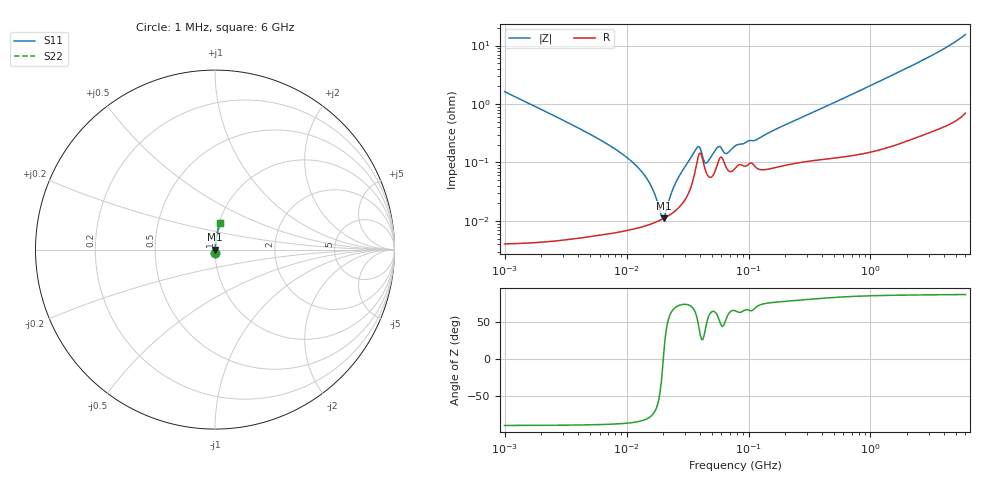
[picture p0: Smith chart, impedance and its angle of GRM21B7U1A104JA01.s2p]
!Murata Part Number: GRM21B7U1A104JA01
!These Parameters are Measured in Series Mode Connection
!Data Generated on Mar 30, 2021
!  o--ll--o
!Port1  Port2
!  o------o
!Operation Temp=25[degC], DC Bias Voltage=0[V]
!Freq. Start=1000[kHz] Stop=6[GHz] 401[Steps]
# Hz S RI R 50
!Freq.(Hz) S11(Real) S11(Imag) S21(Real) S21(Imag) S12(Real) S12(Imag) S22(Real) S22(Imag)
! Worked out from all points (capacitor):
!   401 points, 1 MHz to 6 GHz, reference 50 ohm
!   read as one part in series: C = 97.7 nF near 1.044 MHz
!   lowest |Z| = 11 mohm at 20.11 MHz (marker M1)
!   series resonance near 19.99 MHz, so ESL is about 650 pH
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1000000  0.000304 -0.0162  0.9997 0.0162  0.9997 0.0162  0.000304 -0.0162
4293785  6.45e-05 -0.00361  0.9999 0.00361  0.9999 0.00361  6.45e-05 -0.00361
8245209  6.59e-05 -0.00164  0.9999 0.00164  0.9999 0.00164  6.59e-05 -0.00164
1.219603e7  7.57e-05 -0.000848  0.9999 0.000848  0.9999 0.000848  7.57e-05 -0.000848
1.549236e7  8.72e-05 -0.00043  0.9999 0.00043  0.9999 0.00043  8.72e-05 -0.00043
1.690048e7  9.32e-05 -0.000283  0.9999 0.000283  0.9999 0.000283  9.32e-05 -0.000283
1.843659e7  0.000101 -0.000137  0.9999 0.000137  0.9999 0.000137  0.000101 -0.000137
1.925624e7  0.000105 -6.37e-05  0.9999 6.37e-05  0.9999 6.37e-05  0.000105 -6.37e-05
2.011232e7  0.00011 1.03e-05  0.9999 -1.03e-05  0.9999 -1.03e-05  0.00011 1.03e-05
2.554826e7  0.000154 0.000445  0.9998 -0.000445  0.9998 -0.000445  0.000154 0.000445
3.779011e7  0.00101 0.00148  0.999 -0.00148  0.999 -0.00148  0.00101 0.00148
3.947016e7  0.00142 0.00119  0.9986 -0.00119  0.9986 -0.00119  0.00142 0.00119
4.305766e7  0.000916 0.000554  0.9991 -0.000554  0.9991 -0.000554  0.000916 0.000554
4.497189e7  0.000675 0.000704  0.9993 -0.000704  0.9993 -0.000704  0.000675 0.000704
5.589783e7  0.000962 0.00155  0.999 -0.00155  0.999 -0.00155  0.000962 0.00155
6.652088e7  0.000782 0.0012  0.9992 -0.0012  0.9992 -0.0012  0.000782 0.0012
7.745967e7  0.000789 0.00174  0.9992 -0.00174  0.9992 -0.00174  0.000789 0.00174
1.145757e8  0.000832 0.00227  0.9992 -0.00227  0.9992 -0.00227  0.000832 0.00227
3.325952e8  0.00112 0.007  0.9989 -0.007  0.9989 -0.007  0.00112 0.007
1.428092e9  0.00269 0.0293  0.9973 -0.0293  0.9973 -0.0293  0.00269 0.0293
3.483508e9  0.00908 0.0738  0.9909 -0.0738  0.9909 -0.0738  0.00908 0.0738
6e9  0.0297 0.1487  0.9703 -0.1487  0.9703 -0.1487  0.0297 0.1487
